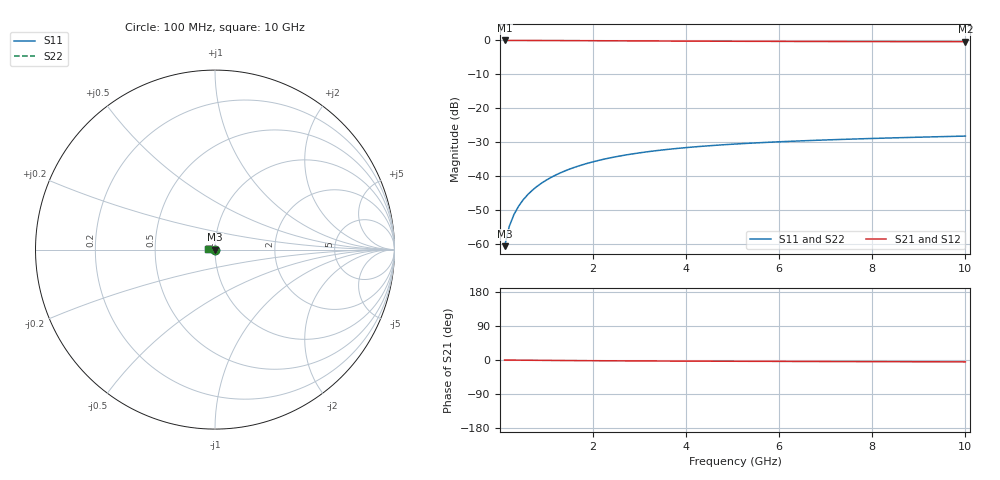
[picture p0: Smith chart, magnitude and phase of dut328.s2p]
! Touchstone file exported from HFSS 2024.1.0
!  File:  C:/UserFiles/LocalFiles/RDL_TSV_Batchsim/temp_TSV1_328_1779617556.aedt
!  Generated:  06:18:33 PM May 24, 2026
!  Design:  TSV1
!  Project:  temp_TSV1_328_1779617556
!  Setup:  Setup1
!  Solution:  Sweep
! Variables:
!  dtsv = 7.47um
!  hbump = 3um
!  htsv = 77.25um
!  lrdl = 252.1521522um
!  p = 40
!  p1 = 42.19um
!  t = 500um
!  trdl = 3um
!  wrdl = 24.89489489um
# GHz S MA R 50.000000
! Terminal data exported
! Port[1] = TSV22_T1
! Port[2] = TSV22_T2
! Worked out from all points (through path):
!   100 points, 100 MHz to 10 GHz, reference 50 ohm
!   highest |S21| = 0.00 dB at 100 MHz (marker M1); lowest = -0.4 dB at 10 GHz (marker M2)
!   lowest |S11| = -60.8 dB at 100 MHz (marker M3), VSWR 1.00, Z = 50 - j0.0888 ohm
!   |S11| at or under -10 dB: start of sweep to end of sweep
!   |S22| runs from -60.8 to -28.2 dB; largest |S21 - S12| = 7e-15
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0.1  0.0009167 -75.6  0.9997 -0.1  0.9997 -0.1  0.0009167 -75.6
! Gamma 0 0 0 0
! Port Impedance 50 0 50 0
0.2  0.001797 -85.0  0.9996 -0.2  0.9996 -0.2  0.001797 -85.0
0.3  0.002683 -89.4  0.9995 -0.3  0.9995 -0.3  0.002683 -89.4
0.4  0.003566 -92.5  0.9993 -0.4  0.9993 -0.4  0.003566 -92.5
0.5  0.004443 -95.0  0.999 -0.5  0.999 -0.5  0.004443 -95.0
0.6  0.005314 -97.2  0.9988 -0.6  0.9988 -0.6  0.005314 -97.2
0.7  0.006176 -99.3  0.9984 -0.7  0.9984 -0.7  0.006176 -99.3
0.8  0.007028 -101.2  0.998 -0.8  0.998 -0.8  0.007028 -101.2
0.9  0.007869 -103.1  0.9976 -0.9  0.9976 -0.9  0.007869 -103.1
1.1  0.009513 -106.6  0.9967 -1.1  0.9967 -1.1  0.009513 -106.6
1.4  0.01187 -111.7  0.995 -1.4  0.995 -1.4  0.01187 -111.7
1.6  0.01336 -114.8  0.9938 -1.5  0.9938 -1.5  0.01336 -114.8
1.8  0.01479 -117.9  0.9924 -1.7  0.9924 -1.7  0.01479 -117.9
2.1  0.01679 -122.3  0.9904 -1.9  0.9904 -1.9  0.01679 -122.3
2.5  0.01922 -127.7  0.9875 -2.2  0.9875 -2.2  0.01922 -127.7
2.9  0.02139 -132.8  0.9847 -2.4  0.9847 -2.4  0.02139 -132.8
3.4  0.02375 -138.7  0.9814 -2.7  0.9814 -2.7  0.02375 -138.7
4.2  0.02688 -147.0  0.9766 -3.0  0.9766 -3.0  0.02688 -147.0
5.1  0.02966 -155.0  0.9721 -3.4  0.9721 -3.4  0.02966 -155.0
6.7  0.03336 -166.8  0.9661 -3.9  0.9661 -3.9  0.03336 -166.8
8.4  0.03634 -177.0  0.9617 -4.4  0.9617 -4.4  0.03634 -177.0
10  0.03872 175.0  0.9588 -5.0  0.9588 -5.0  0.03872 175.0
